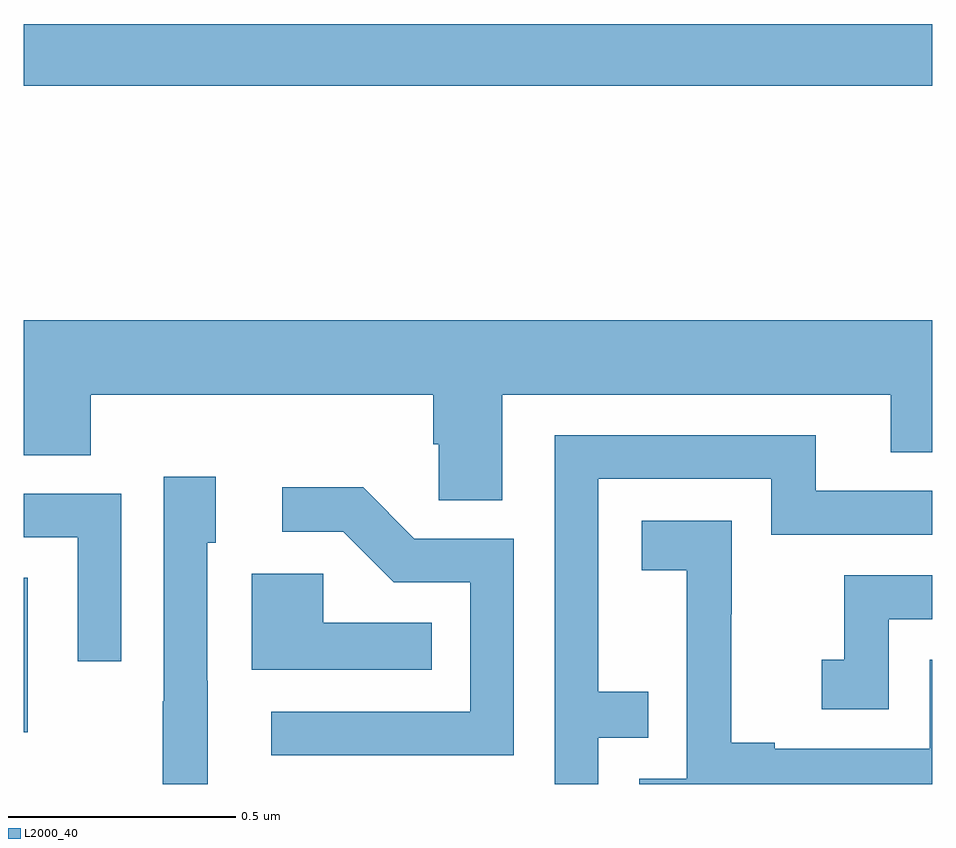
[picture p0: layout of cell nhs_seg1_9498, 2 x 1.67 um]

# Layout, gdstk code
import gdstk
lib = gdstk.Library(unit=1e-6, precision=1e-09)
def R(c, l, rs):  # rectangles x0, y0, x1, y1
    for r in rs: c.add(gdstk.rectangle(r[:2], r[2:], *l))
def P(c, l, *ps):  # polygons
    for p in ps: c.add(gdstk.Polygon(p, *l))
L2000_40 = (2000, 40)

nhs_seg1_9498 = lib.new_cell('nhs_seg1_9498')
R(nhs_seg1_9498, L2000_40, [(229,560.313,229.009,560.653), (229,561.736,231,561.872)])
P(nhs_seg1_9498, L2000_40, [(230.053,561.056),(230.909,561.056),(230.909,560.929),(231,560.929),(231,561.22),(229,561.22),(229,560.923),(229.148,560.923),(229.148,561.056),(229.901,561.056),(229.901,560.947),(229.914,560.947),(229.914,560.824),(230.053,560.824)],
  [(230.265,560.301),(230.375,560.301),(230.375,560.402),(230.265,560.402),(230.265,560.871),(230.646,560.871),(230.646,560.748),(231,560.748),(231,560.844),(230.743,560.844),(230.743,560.967),(230.169,560.967),(230.169,560.199),(230.265,560.199)],
  [(229.405,560.426),(229.404,560.426),(229.404,560.73),(229.423,560.73),(229.423,560.875),(229.308,560.875),(229.308,560.381),(229.306,560.381),(229.306,560.199),(229.405,560.199)],
  [(230.079,560.739),(229.86,560.739),(229.747,560.852),(229.569,560.852),(229.569,560.754),(229.703,560.754),(229.814,560.643),(229.983,560.643),(229.983,560.358),(229.545,560.358),(229.545,560.262),(230.079,560.262)],
  [(229.215,560.838),(229,560.838),(229,560.742),(229.119,560.742),(229.119,560.469),(229.215,560.469)],
  [(231,560.472),(230.994,560.472),(230.994,560.277),(230.653,560.277),(230.653,560.29),(230.558,560.29),(230.558,560.573),(230.559,560.573),(230.559,560.779),(230.361,560.779),(230.361,560.669),(230.459,560.669),(230.459,560.441),(230.46,560.441),(230.46,560.211),(230.355,560.211),(230.355,560.199),(231,560.199)],
  [(229.898,560.554),(229.659,560.554),(229.659,560.662),(229.502,560.662),(229.502,560.45),(229.898,560.45)],
  [(230.904,560.562),(231,560.562),(231,560.658),(230.806,560.658),(230.806,560.473),(230.757,560.473),(230.757,560.364),(230.904,560.364)])

lib.write_gds('nhs_seg1_9498.gds')
